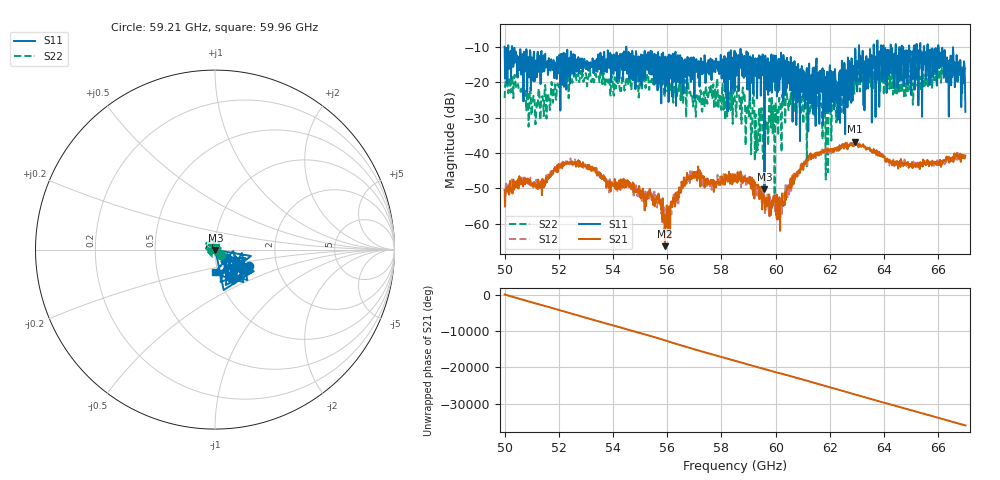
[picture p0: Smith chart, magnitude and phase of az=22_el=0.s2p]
!Created with skrf (http://scikit-rf.org).
# GHz S RI R 50.0
!freq ReS11 ImS11 ReS21 ImS21 ReS12 ImS12 ReS22 ImS22
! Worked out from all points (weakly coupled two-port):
!   1001 points, 50 GHz to 67 GHz, reference 50 ohm
!   highest |S21| = -36.79 dB at 62.94 GHz (marker M1); lowest = -66.4 dB at 55.92 GHz (marker M2)
!   lowest |S11| = -50.3 dB at 59.59 GHz (marker M3), VSWR 1.01, Z = 50.2 - j0.202 ohm
!   |S11| at or under -10 dB: 50.27 GHz to 54.49 GHz (4.215 GHz wide, 8.05 % of centre); 54.49 GHz to 63.07 GHz (8.583 GHz wide, 14.6 % of centre); 66.01 GHz to end of sweep (the widest 3 of 19)
!   |S22| runs from -53.5 to -13.8 dB; largest |S21 - S12| = 0.0023
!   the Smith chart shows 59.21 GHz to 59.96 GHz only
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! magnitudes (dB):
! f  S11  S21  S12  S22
! 50 GHz  -10.0  -50.5  -52.8  -24.5
! 50.42 GHz  -14.3  -49.8  -48.7  -21.4
! 51.07 GHz  -12.2  -49.5  -48.7  -23.8
! 52.84 GHz  -14.2  -43.4  -43.1  -18.8
! 55.68 GHz  -13.5  -51.5  -53.3  -22.0
! 55.92 GHz  -22.8  -66.4  -57.2  -23.0
! 56.82 GHz  -18.1  -46.8  -46.9  -22.7
! 58.5 GHz  -22.4  -46.0  -46.5  -25.5
! 59.59 GHz  -50.3  -53.5  -51.6  -29.3
! 59.84 GHz  -12.1  -54.7  -54.5  -24.7
! 60.15 GHz  -13.6  -55.8  -53.8  -24.9
! 60.64 GHz  -14.4  -47.5  -46.9  -22.4
! 61.34 GHz  -24.7  -41.1  -41.4  -24.9
! 61.88 GHz  -26.9  -39.8  -39.0  -22.5
! 62.56 GHz  -34.7  -37.7  -37.6  -19.5
! 62.94 GHz  -10.5  -36.8  -37.7  -17.5
! 64.18 GHz  -18.1  -42.8  -41.8  -18.2
! 65.1 GHz  -10.1  -43.4  -43.9  -18.4
! 66.08 GHz  -15.1  -43.3  -43.5  -15.6
! 66.42 GHz  -15.9  -41.5  -41.6  -16.2
! 66.75 GHz  -18.1  -40.9  -40.1  -18.5
! 67 GHz  -28.4  -40.7  -41.0  -15.8
